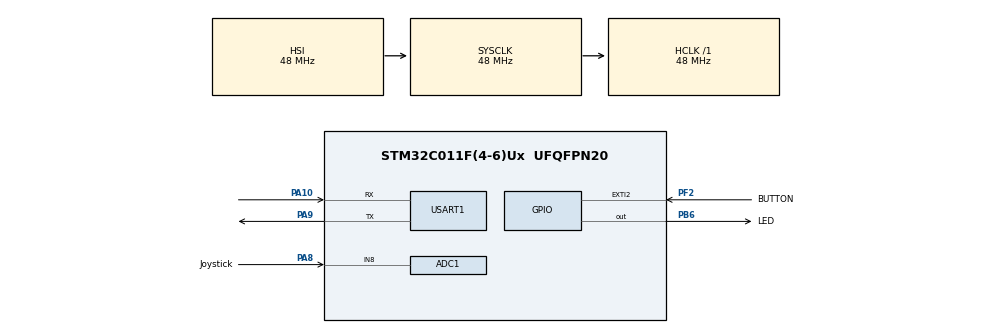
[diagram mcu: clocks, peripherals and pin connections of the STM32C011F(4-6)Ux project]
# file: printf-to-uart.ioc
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ADC1.NbrOfConversion=1
ADC1.NbrOfConversionFlag=0
ADC1.SelectedChannel=ADC_CHANNEL_TEMPSENSOR|ADC_CHANNEL_VREFINT|ADC_CHANNEL_8
ADC1.master=1
Dma.ADC1.0.Direction=DMA_PERIPH_TO_MEMORY
Dma.ADC1.0.EventEnable=DISABLE
Dma.ADC1.0.Instance=DMA1_Channel1
Dma.ADC1.0.MemDataAlignment=DMA_MDATAALIGN_HALFWORD
Dma.ADC1.0.MemInc=DMA_MINC_ENABLE
Dma.ADC1.0.Mode=DMA_NORMAL
Dma.ADC1.0.PeriphDataAlignment=DMA_PDATAALIGN_HALFWORD
Dma.ADC1.0.PeriphInc=DMA_PINC_DISABLE
Dma.ADC1.0.Polarity=HAL_DMAMUX_REQ_GEN_RISING
Dma.ADC1.0.Priority=DMA_PRIORITY_LOW
Dma.ADC1.0.RequestNumber=1
Dma.ADC1.0.SignalID=NONE
Dma.ADC1.0.SyncEnable=DISABLE
Dma.ADC1.0.SyncPolarity=HAL_DMAMUX_SYNC_NO_EVENT
Dma.ADC1.0.SyncRequestNumber=1
Dma.ADC1.0.SyncSignalID=NONE
Dma.Request0=ADC1
Mcu.Family=STM32C0
Mcu.Name=STM32C011F(4-6)Ux
Mcu.Package=UFQFPN20
NVIC.DMA1_Channel1_IRQn=true\:0\:0\:false\:false\:true\:false\:true\:true
NVIC.USART1_IRQn=true\:0\:0\:false\:false\:true\:true\:true\:true
PA10\ [PA12].Mode=Asynchronous
PA10\ [PA12].Signal=USART1_RX
PA13.Mode=Serial_Wire
PA13.Signal=DEBUG_SWDIO
PA14-BOOT0.Mode=Serial_Wire
PA14-BOOT0.Signal=DEBUG_SWCLK
PA2.Signal=USART2_TX
PA3.Signal=USART2_RX
PA4.Signal=SPI1_NSS
PA5.Signal=SPI1_SCK
PA6.Signal=SPI1_MISO
PA7.Signal=SPI1_MOSI
PA8.GPIO_Label=Joystick
PA8.Mode=IN8
PA8.Signal=ADC1_IN8
PA9\ [PA11].Mode=Asynchronous
PA9\ [PA11].Signal=USART1_TX
PB6.GPIO_Label=LED
PB6.GPIO_Speed=GPIO_SPEED_FREQ_VERY_HIGH
PB6.PinState=GPIO_PIN_SET
PB6.Signal=GPIO_Output
PF2-NRST.GPIO_Label=BUTTON
PF2-NRST.Signal=GPXTI2
ProjectManager.HeapSize=0x200
ProjectManager.StackSize=0x400
ProjectManager.TargetToolchain=EWARM V9.20
RCC.ADCFreq_Value=48000000
RCC.AHBFreq_Value=48000000
RCC.CortexFreq_Value=48000000
RCC.EXTERNAL_CLOCK_VALUE=12288000
RCC.HCLKFreq_Value=48000000
RCC.HSE_VALUE=8000000
RCC.HSISYSCLKDivider=RCC_HSI_DIV1
RCC.HSI_VALUE=48000000
RCC.LSE_VALUE=32768
RCC.SYSCLKFreq_VALUE=48000000
USART1.VirtualMode-Asynchronous=VM_ASYNC
VP_ADC1_TempSens_Input.Mode=IN-TempSens
VP_ADC1_Vref_Input.Mode=IN-Vrefint
VP_SYS_VS_PINREMAP.Mode=PINREMAP
VP_SYS_VS_PINREMAP_10_12.Mode=PINREMAP_10_12
board=STM32C0116-DK

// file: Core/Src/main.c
/* USER CODE BEGIN Header */
/**
  ******************************************************************************
  * @file           : main.c
  * @brief          : Main program body
  ******************************************************************************
  * @attention
  *
  * Copyright (c) 2024 STMicroelectronics.
  * All rights reserved.
  *
  * This software is licensed under terms that can be found in the LICENSE file
  * in the root directory of this software component.
  * If no LICENSE file comes with this software, it is provided AS-IS.
  *
  ******************************************************************************
  */
/* USER CODE END Header */
#include "main.h"

/* USER CODE BEGIN Includes */

#include <stdio.h>
#include <string.h>

/* USER CODE END Includes */

ADC_HandleTypeDef hadc1;
DMA_HandleTypeDef hdma_adc1;

UART_HandleTypeDef huart1;

/* USER CODE BEGIN PV */

uint8_t txbuffer[256];

/* USER CODE END PV */

void SystemClock_Config(void);
static void MX_GPIO_Init(void);
static void MX_DMA_Init(void);
static void MX_ADC1_Init(void);
static void MX_USART1_UART_Init(void);
/* USER CODE BEGIN PFP */

#define PUTCHAR_PROTOTYPE int __io_putchar(int ch)

/* USER CODE END PFP */

/* USER CODE BEGIN 0 */

///
// @brief replacement for IAR system call
// @note requires "low level interface" set to "None"
//
size_t __dwrite(int file, unsigned char const *ptr, size_t len)
{
  memset(txbuffer, 0, sizeof(txbuffer));
  if (len > sizeof(txbuffer))
    len = sizeof(txbuffer);
  memcpy(txbuffer, ptr, len);
  HAL_UART_Transmit_IT(&huart1, txbuffer, len);

//  unsigned char const *pdata = ptr;
//  for (size_t idx = 0; idx < len; idx++)
//  {
//    __io_putchar((int)*pdata);
//    pdata++;
//  }
  return len;
}

/* USER CODE END 0 */

int main(void)
{

  /* USER CODE BEGIN 1 */
  int loopcount = 0;
  /* USER CODE END 1 */

  /* MCU Configuration--------------------------------------------------------*/

  /* Reset of all peripherals, Initializes the Flash interface and the Systick. */
  HAL_Init();

  /* Configure the system clock */
  SystemClock_Config();

  /* Initialize all configured peripherals */
  MX_GPIO_Init();
  MX_DMA_Init();
  MX_ADC1_Init();
  MX_USART1_UART_Init();

  /* Infinite loop */
  /* USER CODE BEGIN WHILE */
  while (1)
  {
    printf("Hello world! loop=%d\r\n", loopcount++);
    HAL_Delay(250);
    HAL_GPIO_TogglePin(LED_GPIO_Port, LED_Pin);
    HAL_Delay(250);
    HAL_GPIO_TogglePin(LED_GPIO_Port, LED_Pin);
    HAL_Delay(250);
    HAL_GPIO_TogglePin(LED_GPIO_Port, LED_Pin);
    HAL_Delay(250);
    HAL_GPIO_TogglePin(LED_GPIO_Port, LED_Pin);

    /* USER CODE END WHILE */

  }
}

void SystemClock_Config(void)
{
  RCC_OscInitTypeDef RCC_OscInitStruct = {0};
  RCC_ClkInitTypeDef RCC_ClkInitStruct = {0};

  /** Initializes the RCC Oscillators according to the specified parameters
  * in the RCC_OscInitTypeDef structure.
  */
  RCC_OscInitStruct.OscillatorType = RCC_OSCILLATORTYPE_HSI;
  RCC_OscInitStruct.HSIState = RCC_HSI_ON;
  RCC_OscInitStruct.HSIDiv = RCC_HSI_DIV1;
  RCC_OscInitStruct.HSICalibrationValue = RCC_HSICALIBRATION_DEFAULT;
  if (HAL_RCC_OscConfig(&RCC_OscInitStruct) != HAL_OK)
  {
    Error_Handler();
  }

  /** Initializes the CPU, AHB and APB buses clocks
  */
  RCC_ClkInitStruct.ClockType = RCC_CLOCKTYPE_HCLK|RCC_CLOCKTYPE_SYSCLK
                              |RCC_CLOCKTYPE_PCLK1;
  RCC_ClkInitStruct.SYSCLKSource = RCC_SYSCLKSOURCE_HSI;
  RCC_ClkInitStruct.SYSCLKDivider = RCC_SYSCLK_DIV1;
  RCC_ClkInitStruct.AHBCLKDivider = RCC_HCLK_DIV1;
  RCC_ClkInitStruct.APB1CLKDivider = RCC_APB1_DIV1;

  if (HAL_RCC_ClockConfig(&RCC_ClkInitStruct, FLASH_LATENCY_1) != HAL_OK)
  {
    Error_Handler();
  }
}

static void MX_ADC1_Init(void)
{

  ADC_ChannelConfTypeDef sConfig = {0};

  /** Configure the global features of the ADC (Clock, Resolution, Data Alignment and number of conversion)
  */
  hadc1.Instance = ADC1;
  hadc1.Init.ClockPrescaler = ADC_CLOCK_SYNC_PCLK_DIV2;
  hadc1.Init.Resolution = ADC_RESOLUTION_12B;
  hadc1.Init.DataAlign = ADC_DATAALIGN_RIGHT;
  hadc1.Init.ScanConvMode = ADC_SCAN_SEQ_FIXED;
  hadc1.Init.EOCSelection = ADC_EOC_SINGLE_CONV;
  hadc1.Init.LowPowerAutoWait = DISABLE;
  hadc1.Init.LowPowerAutoPowerOff = DISABLE;
  hadc1.Init.ContinuousConvMode = DISABLE;
  hadc1.Init.NbrOfConversion = 1;
  hadc1.Init.DiscontinuousConvMode = DISABLE;
  hadc1.Init.ExternalTrigConv = ADC_SOFTWARE_START;
  hadc1.Init.ExternalTrigConvEdge = ADC_EXTERNALTRIGCONVEDGE_NONE;
  hadc1.Init.DMAContinuousRequests = DISABLE;
  hadc1.Init.Overrun = ADC_OVR_DATA_PRESERVED;
  hadc1.Init.SamplingTimeCommon1 = ADC_SAMPLETIME_1CYCLE_5;
  hadc1.Init.OversamplingMode = DISABLE;
  hadc1.Init.TriggerFrequencyMode = ADC_TRIGGER_FREQ_HIGH;
  if (HAL_ADC_Init(&hadc1) != HAL_OK)
  {
    Error_Handler();
  }

  /** Configure Regular Channel
  */
  sConfig.Channel = ADC_CHANNEL_TEMPSENSOR;
  sConfig.Rank = ADC_RANK_CHANNEL_NUMBER;
  if (HAL_ADC_ConfigChannel(&hadc1, &sConfig) != HAL_OK)
  {
    Error_Handler();
  }

  /** Configure Regular Channel
  */
  sConfig.Channel = ADC_CHANNEL_VREFINT;
  if (HAL_ADC_ConfigChannel(&hadc1, &sConfig) != HAL_OK)
  {
    Error_Handler();
  }

  /** Configure Regular Channel
  */
  sConfig.Channel = ADC_CHANNEL_8;
  if (HAL_ADC_ConfigChannel(&hadc1, &sConfig) != HAL_OK)
  {
    Error_Handler();
  }

}

static void MX_USART1_UART_Init(void)
{

  huart1.Instance = USART1;
  huart1.Init.BaudRate = 115200;
  huart1.Init.WordLength = UART_WORDLENGTH_8B;
  huart1.Init.StopBits = UART_STOPBITS_1;
  huart1.Init.Parity = UART_PARITY_NONE;
  huart1.Init.Mode = UART_MODE_TX_RX;
  huart1.Init.HwFlowCtl = UART_HWCONTROL_NONE;
  huart1.Init.OverSampling = UART_OVERSAMPLING_16;
  huart1.Init.OneBitSampling = UART_ONE_BIT_SAMPLE_DISABLE;
  huart1.Init.ClockPrescaler = UART_PRESCALER_DIV1;
  huart1.AdvancedInit.AdvFeatureInit = UART_ADVFEATURE_NO_INIT;
  if (HAL_UART_Init(&huart1) != HAL_OK)
  {
    Error_Handler();
  }
  if (HAL_UARTEx_SetTxFifoThreshold(&huart1, UART_TXFIFO_THRESHOLD_1_8) != HAL_OK)
  {
    Error_Handler();
  }
  if (HAL_UARTEx_SetRxFifoThreshold(&huart1, UART_RXFIFO_THRESHOLD_1_8) != HAL_OK)
  {
    Error_Handler();
  }
  if (HAL_UARTEx_DisableFifoMode(&huart1) != HAL_OK)
  {
    Error_Handler();
  }

}

static void MX_DMA_Init(void)
{

  /* DMA controller clock enable */
  __HAL_RCC_DMA1_CLK_ENABLE();

  /* DMA interrupt init */
  /* DMA1_Channel1_IRQn interrupt configuration */
  HAL_NVIC_SetPriority(DMA1_Channel1_IRQn, 0, 0);
  HAL_NVIC_EnableIRQ(DMA1_Channel1_IRQn);

}

static void MX_GPIO_Init(void)
{
  GPIO_InitTypeDef GPIO_InitStruct = {0};

  /* GPIO Ports Clock Enable */
  __HAL_RCC_GPIOF_CLK_ENABLE();
  __HAL_RCC_GPIOA_CLK_ENABLE();
  __HAL_RCC_GPIOB_CLK_ENABLE();

  /*Configure GPIO pin Output Level */
  HAL_GPIO_WritePin(LED_GPIO_Port, LED_Pin, GPIO_PIN_SET);

  /*Configure GPIO pin : BUTTON_Pin */
  GPIO_InitStruct.Pin = BUTTON_Pin;
  GPIO_InitStruct.Mode = GPIO_MODE_IT_RISING;
  GPIO_InitStruct.Pull = GPIO_NOPULL;
  HAL_GPIO_Init(BUTTON_GPIO_Port, &GPIO_InitStruct);

  /*Configure GPIO pins : PA2 PA3 */
  GPIO_InitStruct.Pin = GPIO_PIN_2|GPIO_PIN_3;
  GPIO_InitStruct.Mode = GPIO_MODE_AF_PP;
  GPIO_InitStruct.Pull = GPIO_NOPULL;
  GPIO_InitStruct.Speed = GPIO_SPEED_FREQ_LOW;
  GPIO_InitStruct.Alternate = GPIO_AF1_USART2;
  HAL_GPIO_Init(GPIOA, &GPIO_InitStruct);

  /*Configure GPIO pins : PA4 PA5 PA6 PA7 */
  GPIO_InitStruct.Pin = GPIO_PIN_4|GPIO_PIN_5|GPIO_PIN_6|GPIO_PIN_7;
  GPIO_InitStruct.Mode = GPIO_MODE_AF_PP;
  GPIO_InitStruct.Pull = GPIO_NOPULL;
  GPIO_InitStruct.Speed = GPIO_SPEED_FREQ_LOW;
  GPIO_InitStruct.Alternate = GPIO_AF0_SPI1;
  HAL_GPIO_Init(GPIOA, &GPIO_InitStruct);

  /*Configure GPIO pin : LED_Pin */
  GPIO_InitStruct.Pin = LED_Pin;
  GPIO_InitStruct.Mode = GPIO_MODE_OUTPUT_PP;
  GPIO_InitStruct.Pull = GPIO_NOPULL;
  GPIO_InitStruct.Speed = GPIO_SPEED_FREQ_VERY_HIGH;
  HAL_GPIO_Init(LED_GPIO_Port, &GPIO_InitStruct);

}

/* USER CODE BEGIN 4 */
/**
  * @brief  Retargets the C library printf function to the USART.
  *   None
  * @retval None
  */
PUTCHAR_PROTOTYPE
{
  /* Place your implementation of fputc here */
  /* e.g. write a character to the USART1 and Loop until the end of transmission */
  HAL_UART_Transmit(&huart1, (uint8_t *)&ch, 1, 0xFFFF);

  return ch;
}

/* USER CODE END 4 */

void Error_Handler(void)
{
  __disable_irq();
  while (1)
  {
  }
}
